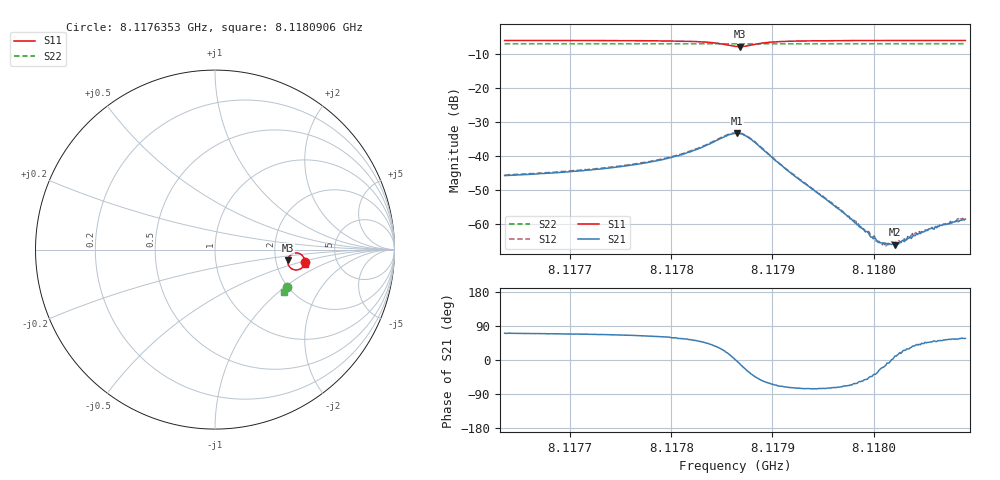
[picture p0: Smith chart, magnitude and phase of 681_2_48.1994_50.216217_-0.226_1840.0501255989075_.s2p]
#  HZ  S  RI  R  50.00
! Rohde & Schwarz Vector Network Analyzer
! Rohde-Schwarz,ZNB20-2Port,1311601062101988,3.16
! Created: UTC 3/20/2024, 12:06:38 PM
! freq[Hz]  re:S11  im:S11  re:S21  im:S21  re:S12  im:S12  re:S22  im:S22
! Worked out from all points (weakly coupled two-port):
!   401 points, 8.1176353 GHz to 8.1180906 GHz, reference 50 ohm
!   highest |S21| = -33.28 dB at 8.1178652 GHz (marker M1); lowest = -66.2 dB at 8.1180212 GHz (marker M2)
!   lowest |S11| = -7.7 dB at 8.1178675 GHz (marker M3), VSWR 2.39, Z = 117 - j16.6 ohm
!   |S11| at or under -10 dB: nowhere
!   |S22| runs from -7.0 to -6.9 dB; largest |S21 - S12| = 0.00072
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8.11763525e9  0.5021 -0.0666  0.00169 0.00485  0.00177 0.00495  0.4013 -0.2101
8.11771153e9  0.4998 -0.0764  0.00225 0.00563  0.00235 0.00578  0.3987 -0.2152
8.11775934e9  0.4963 -0.085  0.00306 0.00664  0.00318 0.00681  0.3971 -0.2183
8.1177878e9  0.4921 -0.0924  0.00408 0.00762  0.00426 0.00777  0.3959 -0.2203
8.11781399e9  0.4833 -0.1022  0.00619 0.00904  0.00638 0.00914  0.3946 -0.2222
8.117847e9  0.4434 -0.1128  0.0149 0.00941  0.0153 0.00961  0.3918 -0.224
8.11786294e9  0.4066 -0.079  0.0215 0.000683  0.022 0.000532  0.39 -0.2231
8.11786522e9  0.405 -0.0692  0.0216 -0.0015  0.0221 -0.00171  0.39 -0.2227
8.1178675e9  0.4054 -0.0593  0.021 -0.00355  0.0214 -0.00401  0.3901 -0.2223
8.11788116e9  0.4393 -0.0205  0.0124 -0.0108  0.0126 -0.0112  0.3917 -0.2219
8.11791417e9  0.4908 -0.0381  0.00196 -0.00591  0.00201 -0.00602  0.3928 -0.2254
8.11793922e9  0.4978 -0.0517  0.000783 -0.00315  0.000777 -0.00322  0.3921 -0.2275
8.1179802e9  0.5006 -0.0646  0.000508 -0.00096  0.000541 -0.000993  0.3908 -0.2305
8.11800411e9  0.5008 -0.0694  0.000454 -0.000282  0.000492 -0.000253  0.39 -0.232
8.11801094e9  0.5009 -0.0707  0.000472 -0.000136  0.000499 -0.000158  0.3898 -0.2327
8.11801549e9  0.5007 -0.0716  0.000501 -6e-05  0.000523 -3.43e-05  0.3896 -0.2328
8.11802119e9  0.5008 -0.0724  0.000482 9.1e-05  0.000527 2.15e-05  0.3894 -0.2332
8.11802916e9  0.5006 -0.0737  0.000518 0.000244  0.00051 0.000207  0.3891 -0.2338
8.1180394e9  0.5005 -0.0751  0.000538 0.000405  0.000541 0.000372  0.3887 -0.2344
8.1180542e9  0.5006 -0.0772  0.000568 0.000599  0.000587 0.000602  0.3883 -0.2353
8.11808494e9  0.5002 -0.081  0.000613 0.000932  0.000619 0.000946  0.3873 -0.2372
8.11809063e9  0.4999 -0.0818  0.00064 0.000984  0.000652 0.00101  0.387 -0.2377
